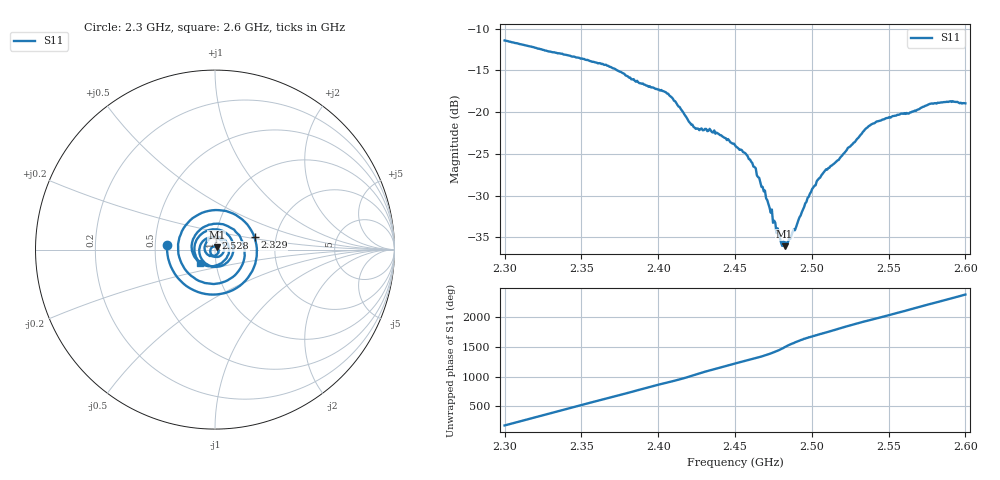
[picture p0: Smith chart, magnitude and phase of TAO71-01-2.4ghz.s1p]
! NanoVNA-App
! Date: 2026-05-23 15:21:26
! Start: 2.3GHz Stop: 2.6GHz Points: 401
! S-Parameter data: F S11
# Hz S RI R 50
!  Frequency  S11_Real  S11_Imag
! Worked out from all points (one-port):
!   401 points, 2.3 GHz to 2.6 GHz, reference 50 ohm
!   lowest |S11| = -36.0 dB at 2.482 GHz (marker M1), VSWR 1.03, Z = 50.9 + j1.3 ohm
!   |S11| at or under -10 dB: start of sweep to end of sweep
!   S11 on the Smith chart (normalised r, x): 2.3 GHz: 0.58, +0.03; 2.329 GHz: 1.55, +0.22; 2.528 GHz: 1.00, +0.13; 2.6 GHz: 0.84, -0.13
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2.3e9  -0.2673 0.0239
2.30825e9  -0.159 -0.2033
2.31425e9  0.0143 -0.2495
2.3225e9  0.2082 -0.1187
2.32925e9  0.2202 0.0682
2.3375e9  0.0616 0.2151
2.34425e9  -0.1076 0.1859
2.35325e9  -0.2051 -0.0055
2.3645e9  -0.0405 -0.188
2.375e9  0.1479 -0.0929
2.3825e9  0.1485 0.0513
2.3915e9  0.0185 0.1445
2.40275e9  -0.1253 0.0473
2.4125e9  -0.0823 -0.0736
2.42975e9  0.0779 -0.00526
2.45e9  -0.0484 0.0409
2.462e9  -0.0365 -0.03
2.48225e9  0.00926 0.0128
2.4875e9  -0.0091 0.0169
2.50475e9  -0.000107 -0.0402
2.525e9  0.029 0.0551
2.528e9  0.00609 0.0659
2.5445e9  -0.0859 -0.0234
2.5625e9  0.0754 -0.0627
2.5715e9  0.0965 0.0453
2.58125e9  -0.0032 0.1125
2.591e9  -0.1074 0.0416
2.6e9  -0.0833 -0.0761
